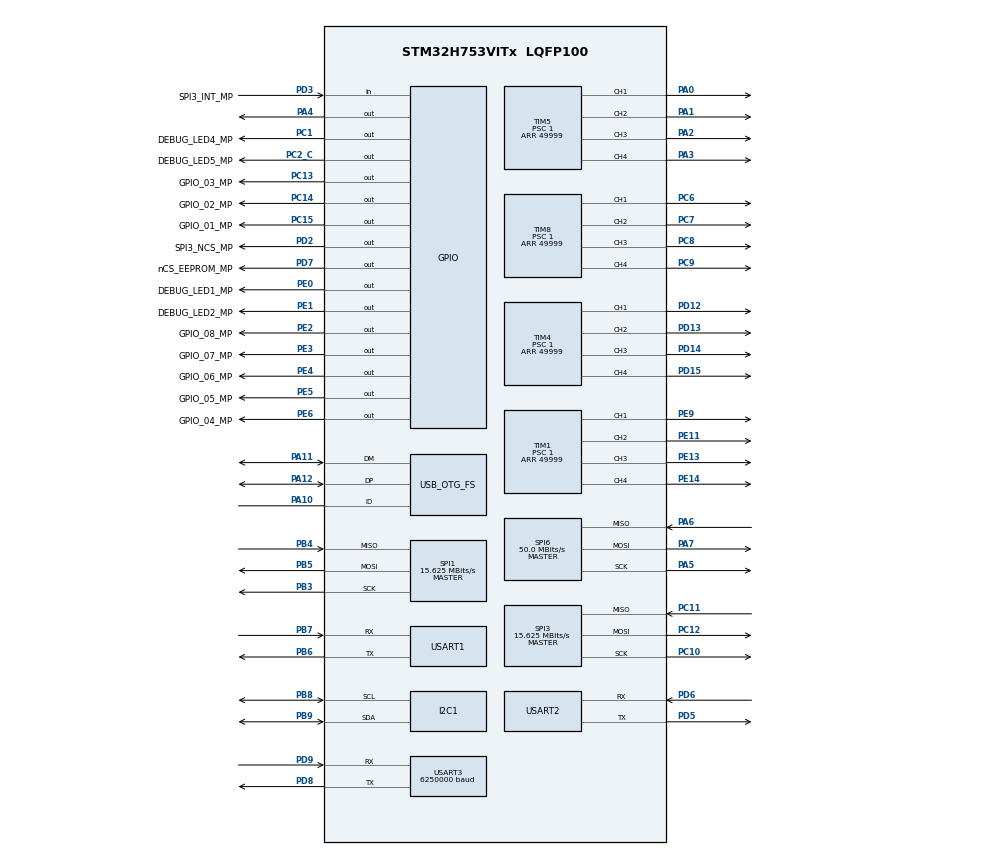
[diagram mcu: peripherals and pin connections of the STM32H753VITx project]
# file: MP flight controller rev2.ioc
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CORTEX_M7.default_mode_Activation=1
Dma.Request0=TIM1_CH1
Dma.Request1=TIM1_CH2
Dma.Request10=TIM5_CH3
Dma.Request11=TIM5_CH4
Dma.Request2=TIM1_CH3
Dma.Request3=TIM1_CH4
Dma.Request4=TIM8_CH1
Dma.Request5=TIM8_CH2
Dma.Request6=TIM8_CH3
Dma.Request7=TIM8_CH4
Dma.Request8=TIM5_CH1
Dma.Request9=TIM5_CH2
Dma.TIM1_CH1.0.Direction=DMA_MEMORY_TO_PERIPH
Dma.TIM1_CH1.0.EventEnable=DISABLE
Dma.TIM1_CH1.0.FIFOMode=DMA_FIFOMODE_DISABLE
Dma.TIM1_CH1.0.Instance=DMA1_Stream0
Dma.TIM1_CH1.0.MemDataAlignment=DMA_MDATAALIGN_WORD
Dma.TIM1_CH1.0.MemInc=DMA_MINC_ENABLE
Dma.TIM1_CH1.0.Mode=DMA_CIRCULAR
Dma.TIM1_CH1.0.PeriphDataAlignment=DMA_PDATAALIGN_WORD
Dma.TIM1_CH1.0.PeriphInc=DMA_PINC_DISABLE
Dma.TIM1_CH1.0.Polarity=HAL_DMAMUX_REQ_GEN_RISING
Dma.TIM1_CH1.0.Priority=DMA_PRIORITY_VERY_HIGH
Dma.TIM1_CH1.0.RequestNumber=1
Dma.TIM1_CH1.0.SignalID=NONE
Dma.TIM1_CH1.0.SyncEnable=DISABLE
Dma.TIM1_CH1.0.SyncPolarity=HAL_DMAMUX_SYNC_NO_EVENT
Dma.TIM1_CH1.0.SyncRequestNumber=1
Dma.TIM1_CH1.0.SyncSignalID=NONE
Dma.TIM1_CH2.1.Direction=DMA_MEMORY_TO_PERIPH
Dma.TIM1_CH2.1.EventEnable=DISABLE
Dma.TIM1_CH2.1.FIFOMode=DMA_FIFOMODE_DISABLE
Dma.TIM1_CH2.1.Instance=DMA1_Stream1
Dma.TIM1_CH2.1.MemDataAlignment=DMA_MDATAALIGN_WORD
Dma.TIM1_CH2.1.MemInc=DMA_MINC_ENABLE
Dma.TIM1_CH2.1.Mode=DMA_CIRCULAR
Dma.TIM1_CH2.1.PeriphDataAlignment=DMA_PDATAALIGN_WORD
Dma.TIM1_CH2.1.PeriphInc=DMA_PINC_DISABLE
Dma.TIM1_CH2.1.Polarity=HAL_DMAMUX_REQ_GEN_RISING
Dma.TIM1_CH2.1.Priority=DMA_PRIORITY_VERY_HIGH
Dma.TIM1_CH2.1.RequestNumber=1
Dma.TIM1_CH2.1.SignalID=NONE
Dma.TIM1_CH2.1.SyncEnable=DISABLE
Dma.TIM1_CH2.1.SyncPolarity=HAL_DMAMUX_SYNC_NO_EVENT
Dma.TIM1_CH2.1.SyncRequestNumber=1
Dma.TIM1_CH2.1.SyncSignalID=NONE
Dma.TIM1_CH3.2.Direction=DMA_MEMORY_TO_PERIPH
Dma.TIM1_CH3.2.EventEnable=DISABLE
Dma.TIM1_CH3.2.FIFOMode=DMA_FIFOMODE_DISABLE
Dma.TIM1_CH3.2.Instance=DMA1_Stream2
Dma.TIM1_CH3.2.MemDataAlignment=DMA_MDATAALIGN_WORD
Dma.TIM1_CH3.2.MemInc=DMA_MINC_ENABLE
Dma.TIM1_CH3.2.Mode=DMA_CIRCULAR
Dma.TIM1_CH3.2.PeriphDataAlignment=DMA_PDATAALIGN_WORD
Dma.TIM1_CH3.2.PeriphInc=DMA_PINC_DISABLE
Dma.TIM1_CH3.2.Polarity=HAL_DMAMUX_REQ_GEN_RISING
Dma.TIM1_CH3.2.Priority=DMA_PRIORITY_VERY_HIGH
Dma.TIM1_CH3.2.RequestNumber=1
Dma.TIM1_CH3.2.SignalID=NONE
Dma.TIM1_CH3.2.SyncEnable=DISABLE
Dma.TIM1_CH3.2.SyncPolarity=HAL_DMAMUX_SYNC_NO_EVENT
Dma.TIM1_CH3.2.SyncRequestNumber=1
Dma.TIM1_CH3.2.SyncSignalID=NONE
Dma.TIM1_CH4.3.Direction=DMA_MEMORY_TO_PERIPH
Dma.TIM1_CH4.3.EventEnable=DISABLE
Dma.TIM1_CH4.3.FIFOMode=DMA_FIFOMODE_DISABLE
Dma.TIM1_CH4.3.Instance=DMA1_Stream3
Dma.TIM1_CH4.3.MemDataAlignment=DMA_MDATAALIGN_WORD
Dma.TIM1_CH4.3.MemInc=DMA_MINC_ENABLE
Dma.TIM1_CH4.3.Mode=DMA_CIRCULAR
Dma.TIM1_CH4.3.PeriphDataAlignment=DMA_PDATAALIGN_WORD
Dma.TIM1_CH4.3.PeriphInc=DMA_PINC_DISABLE
Dma.TIM1_CH4.3.Polarity=HAL_DMAMUX_REQ_GEN_RISING
Dma.TIM1_CH4.3.Priority=DMA_PRIORITY_VERY_HIGH
Dma.TIM1_CH4.3.RequestNumber=1
Dma.TIM1_CH4.3.SignalID=NONE
Dma.TIM1_CH4.3.SyncEnable=DISABLE
Dma.TIM1_CH4.3.SyncPolarity=HAL_DMAMUX_SYNC_NO_EVENT
Dma.TIM1_CH4.3.SyncRequestNumber=1
Dma.TIM1_CH4.3.SyncSignalID=NONE
Dma.TIM5_CH1.8.Direction=DMA_MEMORY_TO_PERIPH
Dma.TIM5_CH1.8.EventEnable=DISABLE
Dma.TIM5_CH1.8.FIFOMode=DMA_FIFOMODE_DISABLE
Dma.TIM5_CH1.8.Instance=DMA2_Stream0
Dma.TIM5_CH1.8.MemDataAlignment=DMA_MDATAALIGN_WORD
Dma.TIM5_CH1.8.MemInc=DMA_MINC_ENABLE
Dma.TIM5_CH1.8.Mode=DMA_CIRCULAR
Dma.TIM5_CH1.8.PeriphDataAlignment=DMA_PDATAALIGN_WORD
Dma.TIM5_CH1.8.PeriphInc=DMA_PINC_DISABLE
Dma.TIM5_CH1.8.Polarity=HAL_DMAMUX_REQ_GEN_RISING
Dma.TIM5_CH1.8.Priority=DMA_PRIORITY_VERY_HIGH
Dma.TIM5_CH1.8.RequestNumber=1
Dma.TIM5_CH1.8.SignalID=NONE
Dma.TIM5_CH1.8.SyncEnable=DISABLE
Dma.TIM5_CH1.8.SyncPolarity=HAL_DMAMUX_SYNC_NO_EVENT
Dma.TIM5_CH1.8.SyncRequestNumber=1
Dma.TIM5_CH1.8.SyncSignalID=NONE
Dma.TIM5_CH2.9.Direction=DMA_MEMORY_TO_PERIPH
Dma.TIM5_CH2.9.EventEnable=DISABLE
Dma.TIM5_CH2.9.FIFOMode=DMA_FIFOMODE_DISABLE
Dma.TIM5_CH2.9.Instance=DMA2_Stream1
Dma.TIM5_CH2.9.MemDataAlignment=DMA_MDATAALIGN_WORD
Dma.TIM5_CH2.9.MemInc=DMA_MINC_ENABLE
Dma.TIM5_CH2.9.Mode=DMA_CIRCULAR
Dma.TIM5_CH2.9.PeriphDataAlignment=DMA_PDATAALIGN_WORD
Dma.TIM5_CH2.9.PeriphInc=DMA_PINC_DISABLE
Dma.TIM5_CH2.9.Polarity=HAL_DMAMUX_REQ_GEN_RISING
Dma.TIM5_CH2.9.Priority=DMA_PRIORITY_VERY_HIGH
Dma.TIM5_CH2.9.RequestNumber=1
Dma.TIM5_CH2.9.SignalID=NONE
Dma.TIM5_CH2.9.SyncEnable=DISABLE
Dma.TIM5_CH2.9.SyncPolarity=HAL_DMAMUX_SYNC_NO_EVENT
Dma.TIM5_CH2.9.SyncRequestNumber=1
Dma.TIM5_CH2.9.SyncSignalID=NONE
Dma.TIM5_CH3.10.Direction=DMA_MEMORY_TO_PERIPH
Dma.TIM5_CH3.10.EventEnable=DISABLE
Dma.TIM5_CH3.10.FIFOMode=DMA_FIFOMODE_DISABLE
Dma.TIM5_CH3.10.Instance=DMA2_Stream2
Dma.TIM5_CH3.10.MemDataAlignment=DMA_MDATAALIGN_WORD
Dma.TIM5_CH3.10.MemInc=DMA_MINC_ENABLE
Dma.TIM5_CH3.10.Mode=DMA_CIRCULAR
Dma.TIM5_CH3.10.PeriphDataAlignment=DMA_PDATAALIGN_WORD
Dma.TIM5_CH3.10.PeriphInc=DMA_PINC_DISABLE
Dma.TIM5_CH3.10.Polarity=HAL_DMAMUX_REQ_GEN_RISING
Dma.TIM5_CH3.10.Priority=DMA_PRIORITY_VERY_HIGH
Dma.TIM5_CH3.10.RequestNumber=1
Dma.TIM5_CH3.10.SignalID=NONE
Dma.TIM5_CH3.10.SyncEnable=DISABLE
Dma.TIM5_CH3.10.SyncPolarity=HAL_DMAMUX_SYNC_NO_EVENT
Dma.TIM5_CH3.10.SyncRequestNumber=1
Dma.TIM5_CH3.10.SyncSignalID=NONE
Dma.TIM5_CH4.11.Direction=DMA_MEMORY_TO_PERIPH
Dma.TIM5_CH4.11.EventEnable=DISABLE
Dma.TIM5_CH4.11.FIFOMode=DMA_FIFOMODE_DISABLE
Dma.TIM5_CH4.11.Instance=DMA2_Stream3
Dma.TIM5_CH4.11.MemDataAlignment=DMA_MDATAALIGN_WORD
Dma.TIM5_CH4.11.MemInc=DMA_MINC_ENABLE
Dma.TIM5_CH4.11.Mode=DMA_CIRCULAR
Dma.TIM5_CH4.11.PeriphDataAlignment=DMA_PDATAALIGN_WORD
Dma.TIM5_CH4.11.PeriphInc=DMA_PINC_DISABLE
Dma.TIM5_CH4.11.Polarity=HAL_DMAMUX_REQ_GEN_RISING
Dma.TIM5_CH4.11.Priority=DMA_PRIORITY_VERY_HIGH
Dma.TIM5_CH4.11.RequestNumber=1
Dma.TIM5_CH4.11.SignalID=NONE
Dma.TIM5_CH4.11.SyncEnable=DISABLE
Dma.TIM5_CH4.11.SyncPolarity=HAL_DMAMUX_SYNC_NO_EVENT
Dma.TIM5_CH4.11.SyncRequestNumber=1
Dma.TIM5_CH4.11.SyncSignalID=NONE
Dma.TIM8_CH1.4.Direction=DMA_MEMORY_TO_PERIPH
Dma.TIM8_CH1.4.EventEnable=DISABLE
Dma.TIM8_CH1.4.FIFOMode=DMA_FIFOMODE_DISABLE
Dma.TIM8_CH1.4.Instance=DMA1_Stream4
Dma.TIM8_CH1.4.MemDataAlignment=DMA_MDATAALIGN_HALFWORD
Dma.TIM8_CH1.4.MemInc=DMA_MINC_ENABLE
Dma.TIM8_CH1.4.Mode=DMA_CIRCULAR
Dma.TIM8_CH1.4.PeriphDataAlignment=DMA_PDATAALIGN_HALFWORD
Dma.TIM8_CH1.4.PeriphInc=DMA_PINC_DISABLE
Dma.TIM8_CH1.4.Polarity=HAL_DMAMUX_REQ_GEN_RISING
Dma.TIM8_CH1.4.Priority=DMA_PRIORITY_VERY_HIGH
Dma.TIM8_CH1.4.RequestNumber=1
Dma.TIM8_CH1.4.SignalID=NONE
Dma.TIM8_CH1.4.SyncEnable=DISABLE
Dma.TIM8_CH1.4.SyncPolarity=HAL_DMAMUX_SYNC_NO_EVENT
Dma.TIM8_CH1.4.SyncRequestNumber=1
Dma.TIM8_CH1.4.SyncSignalID=NONE
Dma.TIM8_CH2.5.Direction=DMA_MEMORY_TO_PERIPH
Dma.TIM8_CH2.5.EventEnable=DISABLE
Dma.TIM8_CH2.5.FIFOMode=DMA_FIFOMODE_DISABLE
Dma.TIM8_CH2.5.Instance=DMA1_Stream5
Dma.TIM8_CH2.5.MemDataAlignment=DMA_MDATAALIGN_HALFWORD
Dma.TIM8_CH2.5.MemInc=DMA_MINC_ENABLE
Dma.TIM8_CH2.5.Mode=DMA_CIRCULAR
Dma.TIM8_CH2.5.PeriphDataAlignment=DMA_PDATAALIGN_HALFWORD
Dma.TIM8_CH2.5.PeriphInc=DMA_PINC_DISABLE
Dma.TIM8_CH2.5.Polarity=HAL_DMAMUX_REQ_GEN_RISING
Dma.TIM8_CH2.5.Priority=DMA_PRIORITY_VERY_HIGH
Dma.TIM8_CH2.5.RequestNumber=1
Dma.TIM8_CH2.5.SignalID=NONE
Dma.TIM8_CH2.5.SyncEnable=DISABLE
Dma.TIM8_CH2.5.SyncPolarity=HAL_DMAMUX_SYNC_NO_EVENT
Dma.TIM8_CH2.5.SyncRequestNumber=1
Dma.TIM8_CH2.5.SyncSignalID=NONE
Dma.TIM8_CH3.6.Direction=DMA_MEMORY_TO_PERIPH
Dma.TIM8_CH3.6.EventEnable=DISABLE
Dma.TIM8_CH3.6.FIFOMode=DMA_FIFOMODE_DISABLE
Dma.TIM8_CH3.6.Instance=DMA1_Stream6
Dma.TIM8_CH3.6.MemDataAlignment=DMA_MDATAALIGN_HALFWORD
Dma.TIM8_CH3.6.MemInc=DMA_MINC_ENABLE
Dma.TIM8_CH3.6.Mode=DMA_CIRCULAR
Dma.TIM8_CH3.6.PeriphDataAlignment=DMA_PDATAALIGN_HALFWORD
Dma.TIM8_CH3.6.PeriphInc=DMA_PINC_DISABLE
Dma.TIM8_CH3.6.Polarity=HAL_DMAMUX_REQ_GEN_RISING
Dma.TIM8_CH3.6.Priority=DMA_PRIORITY_VERY_HIGH
Dma.TIM8_CH3.6.RequestNumber=1
Dma.TIM8_CH3.6.SignalID=NONE
Dma.TIM8_CH3.6.SyncEnable=DISABLE
Dma.TIM8_CH3.6.SyncPolarity=HAL_DMAMUX_SYNC_NO_EVENT
Dma.TIM8_CH3.6.SyncRequestNumber=1
Dma.TIM8_CH3.6.SyncSignalID=NONE
Dma.TIM8_CH4.7.Direction=DMA_MEMORY_TO_PERIPH
Dma.TIM8_CH4.7.EventEnable=DISABLE
Dma.TIM8_CH4.7.FIFOMode=DMA_FIFOMODE_DISABLE
Dma.TIM8_CH4.7.Instance=DMA1_Stream7
Dma.TIM8_CH4.7.MemDataAlignment=DMA_MDATAALIGN_WORD
Dma.TIM8_CH4.7.MemInc=DMA_MINC_ENABLE
Dma.TIM8_CH4.7.Mode=DMA_CIRCULAR
Dma.TIM8_CH4.7.PeriphDataAlignment=DMA_PDATAALIGN_WORD
Dma.TIM8_CH4.7.PeriphInc=DMA_PINC_DISABLE
Dma.TIM8_CH4.7.Polarity=HAL_DMAMUX_REQ_GEN_RISING
Dma.TIM8_CH4.7.Priority=DMA_PRIORITY_VERY_HIGH
Dma.TIM8_CH4.7.RequestNumber=1
Dma.TIM8_CH4.7.SignalID=NONE
Dma.TIM8_CH4.7.SyncEnable=DISABLE
Dma.TIM8_CH4.7.SyncPolarity=HAL_DMAMUX_SYNC_NO_EVENT
Dma.TIM8_CH4.7.SyncRequestNumber=1
Dma.TIM8_CH4.7.SyncSignalID=NONE
I2C1.Timing=0x10C0ECFF
Mcu.Family=STM32H7
Mcu.Name=STM32H753VITx
Mcu.Package=LQFP100
NVIC.DMA1_Stream0_IRQn=true\:0\:0\:false\:false\:true\:false\:true\:true
NVIC.DMA1_Stream1_IRQn=true\:0\:0\:false\:false\:true\:false\:true\:true
NVIC.DMA1_Stream2_IRQn=true\:0\:0\:false\:false\:true\:false\:true\:true
NVIC.DMA1_Stream3_IRQn=true\:0\:0\:false\:false\:true\:false\:true\:true
NVIC.DMA1_Stream4_IRQn=true\:0\:0\:false\:false\:true\:false\:true\:true
NVIC.DMA1_Stream5_IRQn=true\:0\:0\:false\:false\:true\:false\:true\:true
NVIC.DMA1_Stream6_IRQn=true\:0\:0\:false\:false\:true\:false\:true\:true
NVIC.DMA1_Stream7_IRQn=true\:0\:0\:false\:false\:true\:false\:true\:true
NVIC.DMA2_Stream0_IRQn=true\:0\:0\:false\:false\:true\:false\:true\:true
NVIC.DMA2_Stream1_IRQn=true\:0\:0\:false\:false\:true\:false\:true\:true
NVIC.DMA2_Stream2_IRQn=true\:0\:0\:false\:false\:true\:false\:true\:true
NVIC.DMA2_Stream3_IRQn=true\:0\:0\:false\:false\:true\:false\:true\:true
NVIC.PriorityGroup=NVIC_PRIORITYGROUP_4
NVIC.TIM7_IRQn=true\:0\:0\:false\:false\:true\:true\:true\:true
NVIC.USART1_IRQn=true\:0\:0\:false\:false\:true\:true\:true\:true
NVIC.USART2_IRQn=true\:0\:0\:false\:false\:true\:true\:true\:true
NVIC.USART3_IRQn=true\:0\:0\:false\:false\:true\:true\:true\:true
PA0.Signal=S_TIM5_CH1
PA1.Signal=S_TIM5_CH2
PA10.Mode=OTG/Dual_Role_Device
PA10.Signal=USB_OTG_FS_ID
PA11.Mode=OTG/Dual_Role_Device
PA11.Signal=USB_OTG_FS_DM
PA12.Mode=OTG/Dual_Role_Device
PA12.Signal=USB_OTG_FS_DP
PA13\ (JTMS/SWDIO).Mode=Serial_Wire
PA13\ (JTMS/SWDIO).Signal=DEBUG_JTMS-SWDIO
PA14\ (JTCK/SWCLK).Mode=Serial_Wire
PA14\ (JTCK/SWCLK).Signal=DEBUG_JTCK-SWCLK
PA2.Signal=S_TIM5_CH3
PA3.Signal=S_TIM5_CH4
PA4.Signal=GPIO_Output
PA5.Mode=Full_Duplex_Master
PA5.Signal=SPI6_SCK
PA6.Mode=Full_Duplex_Master
PA6.Signal=SPI6_MISO
PA7.Mode=Full_Duplex_Master
PA7.Signal=SPI6_MOSI
PB3\ (JTDO/TRACESWO).Mode=Full_Duplex_Master
PB3\ (JTDO/TRACESWO).Signal=SPI1_SCK
PB4\ (NJTRST).Mode=Full_Duplex_Master
PB4\ (NJTRST).Signal=SPI1_MISO
PB5.Mode=Full_Duplex_Master
PB5.Signal=SPI1_MOSI
PB6.Mode=Asynchronous
PB6.Signal=USART1_TX
PB7.Mode=Asynchronous
PB7.Signal=USART1_RX
PB8.Mode=I2C
PB8.Signal=I2C1_SCL
PB9.Mode=I2C
PB9.Signal=I2C1_SDA
PC1.GPIO_Label=DEBUG_LED4_MP
PC1.Signal=GPIO_Output
PC10.Mode=Full_Duplex_Master
PC10.Signal=SPI3_SCK
PC11.Mode=Full_Duplex_Master
PC11.Signal=SPI3_MISO
PC12.Mode=Full_Duplex_Master
PC12.Signal=SPI3_MOSI
PC13.GPIO_Label=GPIO_03_MP
PC13.Signal=GPIO_Output
PC14-OSC32_IN\ (OSC32_IN).GPIO_Label=GPIO_02_MP
PC14-OSC32_IN\ (OSC32_IN).Signal=GPIO_Output
PC15-OSC32_OUT\ (OSC32_OUT).GPIO_Label=GPIO_01_MP
PC15-OSC32_OUT\ (OSC32_OUT).Signal=GPIO_Output
PC2_C.GPIO_Label=DEBUG_LED5_MP
PC2_C.Signal=GPIO_Output
PC6.Signal=S_TIM8_CH1
PC7.Signal=S_TIM8_CH2
PC8.Signal=S_TIM8_CH3
PC9.Signal=S_TIM8_CH4
PD12.Signal=S_TIM4_CH1
PD13.Signal=S_TIM4_CH2
PD14.Signal=S_TIM4_CH3
PD15.Signal=S_TIM4_CH4
PD2.GPIO_Label=SPI3_NCS_MP
PD2.Signal=GPIO_Output
PD3.GPIO_Label=SPI3_INT_MP 
PD3.Signal=GPIO_Input
PD5.Mode=Asynchronous
PD5.Signal=USART2_TX
PD6.Mode=Asynchronous
PD6.Signal=USART2_RX
PD7.GPIO_Label=nCS_EEPROM_MP
PD7.Signal=GPIO_Output
PD8.Mode=Asynchronous
PD8.Signal=USART3_TX
PD9.Mode=Asynchronous
PD9.Signal=USART3_RX
PE0.GPIO_Label=DEBUG_LED1_MP
PE0.Signal=GPIO_Output
PE1.GPIO_Label=DEBUG_LED2_MP
PE1.Signal=GPIO_Output
PE11.Signal=S_TIM1_CH2
PE13.Signal=S_TIM1_CH3
PE14.Signal=S_TIM1_CH4
PE2.GPIO_Label=GPIO_08_MP
PE2.Signal=GPIO_Output
PE3.GPIO_Label=GPIO_07_MP
PE3.Signal=GPIO_Output
PE4.GPIO_Label=GPIO_06_MP
PE4.Signal=GPIO_Output
PE5.GPIO_Label=GPIO_05_MP
PE5.Signal=GPIO_Output
PE6.GPIO_Label=GPIO_04_MP
PE6.Signal=GPIO_Output
PE9.Signal=S_TIM1_CH1
PH0-OSC_IN\ (PH0).Mode=HSE-External-Oscillator
PH0-OSC_IN\ (PH0).Signal=RCC_OSC_IN
PH1-OSC_OUT\ (PH1).Mode=HSE-External-Oscillator
PH1-OSC_OUT\ (PH1).Signal=RCC_OSC_OUT
ProjectManager.HeapSize=0x200
ProjectManager.StackSize=0x400
ProjectManager.TargetToolchain=STM32CubeIDE
RCC.ADCFreq_Value=50390625
RCC.APB1Freq_Value=100000000
RCC.APB2Freq_Value=100000000
RCC.APB3Freq_Value=100000000
RCC.APB4Freq_Value=100000000
RCC.CortexFreq_Value=400000000
RCC.D1PPRE=RCC_APB3_DIV2
RCC.D2PPRE1=RCC_APB1_DIV2
RCC.D2PPRE2=RCC_APB2_DIV2
RCC.D3PPRE=RCC_APB4_DIV2
RCC.DIVM1=2
RCC.DIVM3=2
RCC.DIVN1=64
RCC.DIVN3=40
RCC.DIVP3=16
RCC.EnbaleCSS=true
RCC.HCLKFreq_Value=200000000
RCC.HPRE=RCC_HCLK_DIV2
RCC.PLLSourceVirtual=RCC_PLLSOURCE_HSE
RCC.SPI123CLockSelection=RCC_SPI123CLKSOURCE_PLL3
RCC.SYSCLKFreq_VALUE=400000000
RCC.SYSCLKSource=RCC_SYSCLKSOURCE_PLLCLK
RCC.USBCLockSelection=RCC_USBCLKSOURCE_HSI48
RCC.USBFreq_Value=48000000
SH.S_TIM1_CH1.0=TIM1_CH1,PWM Generation1 CH1
SH.S_TIM1_CH2.0=TIM1_CH2,PWM Generation2 CH2
SH.S_TIM1_CH3.0=TIM1_CH3,PWM Generation3 CH3
SH.S_TIM1_CH4.0=TIM1_CH4,PWM Generation4 CH4
SH.S_TIM4_CH1.0=TIM4_CH1,PWM Generation1 CH1
SH.S_TIM4_CH2.0=TIM4_CH2,PWM Generation2 CH2
SH.S_TIM4_CH3.0=TIM4_CH3,PWM Generation3 CH3
SH.S_TIM4_CH4.0=TIM4_CH4,PWM Generation4 CH4
SH.S_TIM5_CH1.0=TIM5_CH1,PWM Generation1 CH1
SH.S_TIM5_CH2.0=TIM5_CH2,PWM Generation2 CH2
SH.S_TIM5_CH3.0=TIM5_CH3,PWM Generation3 CH3
SH.S_TIM5_CH4.0=TIM5_CH4,PWM Generation4 CH4
SH.S_TIM8_CH1.0=TIM8_CH1,PWM Generation1 CH1
SH.S_TIM8_CH2.0=TIM8_CH2,PWM Generation2 CH2
SH.S_TIM8_CH3.0=TIM8_CH3,PWM Generation3 CH3
SH.S_TIM8_CH4.0=TIM8_CH4,PWM Generation4 CH4
SPI1.BaudRatePrescaler=SPI_BAUDRATEPRESCALER_2
SPI1.CalculateBaudRate=15.625 MBits/s
SPI1.Direction=SPI_DIRECTION_2LINES
SPI1.Mode=SPI_MODE_MASTER
SPI1.VirtualType=VM_MASTER
SPI3.BaudRatePrescaler=SPI_BAUDRATEPRESCALER_2
SPI3.CalculateBaudRate=15.625 MBits/s
SPI3.Direction=SPI_DIRECTION_2LINES
SPI3.Mode=SPI_MODE_MASTER
SPI3.VirtualType=VM_MASTER
SPI6.BaudRatePrescaler=SPI_BAUDRATEPRESCALER_2
SPI6.CalculateBaudRate=50.0 MBits/s
SPI6.Direction=SPI_DIRECTION_2LINES
SPI6.Mode=SPI_MODE_MASTER
SPI6.VirtualType=VM_MASTER
TIM1.Channel-PWM\ Generation1\ CH1=TIM_CHANNEL_1
TIM1.Channel-PWM\ Generation2\ CH2=TIM_CHANNEL_2
TIM1.Channel-PWM\ Generation3\ CH3=TIM_CHANNEL_3
TIM1.Channel-PWM\ Generation4\ CH4=TIM_CHANNEL_4
TIM1.Period=49999
TIM1.Prescaler=1
TIM4.Channel-PWM\ Generation1\ CH1=TIM_CHANNEL_1
TIM4.Channel-PWM\ Generation2\ CH2=TIM_CHANNEL_2
TIM4.Channel-PWM\ Generation3\ CH3=TIM_CHANNEL_3
TIM4.Channel-PWM\ Generation4\ CH4=TIM_CHANNEL_4
TIM4.Period=49999
TIM4.Prescaler=1
TIM5.Channel-PWM\ Generation1\ CH1=TIM_CHANNEL_1
TIM5.Channel-PWM\ Generation2\ CH2=TIM_CHANNEL_2
TIM5.Channel-PWM\ Generation3\ CH3=TIM_CHANNEL_3
TIM5.Channel-PWM\ Generation4\ CH4=TIM_CHANNEL_4
TIM5.Period=49999
TIM5.Prescaler=1
TIM7.AutoReloadPreload=TIM_AUTORELOAD_PRELOAD_ENABLE
TIM7.Period=1
TIM7.Prescaler=24999
TIM8.Channel-PWM\ Generation1\ CH1=TIM_CHANNEL_1
TIM8.Channel-PWM\ Generation2\ CH2=TIM_CHANNEL_2
TIM8.Channel-PWM\ Generation3\ CH3=TIM_CHANNEL_3
TIM8.Channel-PWM\ Generation4\ CH4=TIM_CHANNEL_4
TIM8.Period=49999
TIM8.Prescaler=1
USART1.VirtualMode-Asynchronous=VM_ASYNC
USART2.VirtualMode-Asynchronous=VM_ASYNC
USART3.BaudRate=6250000
USART3.VirtualMode-Asynchronous=VM_ASYNC
VP_MEMORYMAP_VS_MEMORYMAP.Mode=CurAppReg
VP_TIM7_VS_ClockSourceINT.Mode=Enable_Timer
board=custom

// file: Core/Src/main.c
/* USER CODE BEGIN Header */
/**
 ******************************************************************************
 * @file           : main.c
 * @brief          : Main program body
 ******************************************************************************
 * @attention
 *
 * Copyright (c) 2025 STMicroelectronics.
 * All rights reserved.
 *
 * This software is licensed under terms that can be found in the LICENSE file
 * in the root directory of this software component.
 * If no LICENSE file comes with this software, it is provided AS-IS.
 *
 ******************************************************************************
 */
/* USER CODE END Header */
#include "main.h"
#include "dma.h"
#include "i2c.h"
#include "memorymap.h"
#include "spi.h"
#include "tim.h"
#include "usart.h"
#include "usb_otg.h"
#include "gpio.h"

/* USER CODE BEGIN Includes */
#include <stdio.h>
#include <string.h>
#include "DSHOT.h"
//#include "EEPROM.h"
#include "DRONE_CONFIG.h"

/* USER CODE END Includes */

/* USER CODE BEGIN PTD */

int _write(int file, char* p, int len)
{
	for(int i=0;i<len;i++)
	{
		while(!LL_USART_IsActiveFlag_TXE(USART1));
		LL_USART_TransmitData8(USART1, *(p+i));
	}
	return len;
}

/* USER CODE END PTD */

/* USER CODE BEGIN PD */
#define DEBUG_NO 0

// SELECT ANY ONE PARAMETER
#define ONESHOT125 1
#define ONESHOT42  0
#define MULTISHOT  0
#define DSHOT      0

#define DSHOT_TYPE 150 // or DSHOT150

// TAKES 1 MINUTE FOR CABILBRATION // can be done only once
#define CALIBRATE_ESC      0

#define timer_freq 200000000

// CCR Values for MAX and MIN Duty Cycle
#define oneshot125_max_ccr  ((timer_freq * 0.000250f)/2)	// 250 µs Pulse Width // 25000
#define oneshot125_min_ccr  ((timer_freq * 0.000125f)/2)	// 125 µs Pulse Width // 12500
#define oneshot42_max_ccr   (timer_freq * 0.000084f)		// 84  µs Pulse Width // 16800
#define oneshot42_min_ccr   (timer_freq * 0.000042f)		// 42  µs Pulse Width // 8400
#define multishot_max_ccr   (timer_freq * 0.000025f)		// 25  µs Pulse Width // 5000
#define multishot_min_ccr   (timer_freq * 0.000005f)		// 5   µs Pulse Width // 1000

// ARR Values for MAX and MIN Update-Rate
#define oneshot125_max_updateRate_arr  (timer_freq / (4000*2))-1	// 4  KHz Update Rate // 25000
#define oneshot125_min_updateRate_arr  (timer_freq / (2000*2))-1	// 2  KHz Update Rate // 50000
#define oneshot42_max_updateRate_arr   (timer_freq / (20000))-1		// 20 KHz Update Rate // 10000
#define oneshot42_min_updateRate_arr   (timer_freq / (8000))-1		// 8  KHz Update Rate // 25000
#define multishot_max_updateRate_arr   (timer_freq / (50000))-1		// 50 KHz Update Rate // 4000
#define multishot_min_updateRate_arr   (timer_freq / (25000))-1		// 25 KHz Update Rate // 8000

// SELECT UPDATE RATE
#define oneshot125_updateRate_arr   	oneshot125_min_updateRate_arr
#define oneshot42_updateRate_arr   		oneshot42_min_updateRate_arr
#define multishot_updateRate_arr   		multishot_min_updateRate_arr

/* USER CODE END PD */

/* USER CODE BEGIN PV */

extern uint8_t usart1_rx_flag;					// DEBUG
extern uint8_t usart1_rx_data;					// DEBUG

extern uint8_t cp_2_mp_rx_buffer[32];			// CP-MP TX BUFFER
extern uint8_t cp_2_mp_rx_complete_flag;		// CP-MP

extern uint8_t tim7_1000Hz_flag;
extern uint8_t tim7_2000Hz_flag;
extern uint8_t tim7_4000Hz_flag;

typedef struct _RX_DATA
{
	unsigned short setpoint_roll;
	unsigned short setpoint_pitch;
	unsigned short setpoint_throttle;
	unsigned short setpoint_yaw;
	float roll_pid;
	float pitch_pid;
	float yaw_rate_pid;
	float yaw_heading_pid;
	unsigned char failsafe_flag;
	unsigned char motor_arming_flag;
	unsigned char a;
	unsigned char b;
}Struct_RXDATA;

Struct_RXDATA rx;

typedef enum
{
	oneshot125 = 125,			// Values are bluff; has no meaning
	oneshot42  = 42,
	multishot  = 5
} Analog_ESC_Protocol;

/* USER CODE END PV */

void SystemClock_Config(void);
void PeriphCommonClock_Config(void);
static void MPU_Config(void);
/* USER CODE BEGIN PFP */

int Is_CP_MP_Data_Received(void);
int Is_Throttle_Min(void);
unsigned char CP_MP_Check_CHKSUM(unsigned char* data, unsigned char length);
void CP_MP_Parsing(unsigned char* data, Struct_RXDATA* rx);
unsigned char CP_MP_isActiveFailsafe(Struct_RXDATA* rx);
void Calibrate_ESC(TIM_TypeDef * timer, Analog_ESC_Protocol protocol);

/* USER CODE END PFP */

int main(void)
{

  /* MPU Configuration--------------------------------------------------------*/
  MPU_Config();

  /* MCU Configuration--------------------------------------------------------*/

  /* Reset of all peripherals, Initializes the Flash interface and the Systick. */
  HAL_Init();

  /* Configure the system clock */
  SystemClock_Config();

  /* Configure the peripherals common clocks */
  PeriphCommonClock_Config();

  /* Initialize all configured peripherals */
  MX_GPIO_Init();
  MX_DMA_Init();
  MX_I2C1_Init();
  MX_SPI1_Init();
  MX_SPI3_Init();
  MX_SPI6_Init();
  MX_TIM1_Init();
  MX_TIM4_Init();
  MX_TIM5_Init();
  MX_TIM8_Init();
  MX_USART1_UART_Init();
  MX_USART2_UART_Init();
  MX_USART3_UART_Init();
  MX_USB_OTG_FS_USB_Init();
  MX_TIM7_Init();
  /* USER CODE BEGIN 2 */

	/* ENABLE INTERRUPT --------------------------------------------------------------------------*/
	/* THIS ENABLE INTERRUPT IRQ_HANDLER WHEN DATA IS RECEIVED */
	LL_USART_EnableIT_RXNE(USART1);		// DEBUG
	LL_USART_EnableIT_RXNE(USART2);		// EXTERNAL UART
	LL_USART_EnableIT_RXNE(USART3);		// MP-CP

	/* INITIALIZATION ----------------------------------------------------------------------------*/
	//  EEPROM_Initialization();

	/* CHECK DATA RECEIVED -----------------------------------------------------------------------*/
	while(Is_CP_MP_Data_Received() == 0);
	/* SAFETY ------------------------------------------------------------------------------------*/
	while(Is_Throttle_Min() == 0);

	LL_TIM_EnableCounter(TIM7); //10Hz, 50Hz, 1kHz loop
	LL_TIM_EnableIT_UPDATE(TIM7);

	uint32_t motor[16]={0};

	uint32_t max_ccr;
	uint32_t min_ccr;
	uint32_t motor_offset;
	uint32_t throttle_multiplier;

#if DSHOT
	Enable_Dshot_Channels(DSHOT_TYPE);
	max_ccr = 2047;
	min_ccr = 0;
	motor_offset = (max_ccr - min_ccr)/20;
	throttle_multiplier = (max_ccr - min_ccr)/1000;

#elif MULTISHOT
	max_ccr = multishot_max_ccr;
	min_ccr = multishot_min_ccr;
	motor_offset = (max_ccr - min_ccr)/20;
	throttle_multiplier = (max_ccr - min_ccr)/100;
	Pwm_Init(multishot, multishot_updateRate_arr);
#if(CALIBRATE_ESC)
	Calibrate_ESC(TIM1, multishot);
	Calibrate_ESC(TIM8, multishot);
	Calibrate_ESC(TIM5, multishot);
	Calibrate_ESC(TIM4, multishot);
#endif

#elif ONESHOT42
	max_ccr = oneshot42_max_ccr;
	min_ccr = oneshot42_min_ccr;
	motor_offset = (max_ccr - min_ccr)/20;
	throttle_multiplier = (max_ccr - min_ccr)/100;
	Pwm_Init(oneshot42, oneshot42_updateRate_arr);
#if(CALIBRATE_ESC)
	Calibrate_ESC(TIM1, oneshot42);
	Calibrate_ESC(TIM8, oneshot42);
	Calibrate_ESC(TIM5, oneshot42);
	Calibrate_ESC(TIM4, oneshot42);
#endif

#else  // ONESHOT125
	max_ccr = oneshot125_max_ccr;
	min_ccr = oneshot125_min_ccr;
	motor_offset = (max_ccr - min_ccr)/20;
	throttle_multiplier = (max_ccr - min_ccr)/100;
	Pwm_Init(oneshot125, oneshot125_updateRate_arr);
#if(CALIBRATE_ESC)
	Calibrate_ESC(TIM1, oneshot125);
	Calibrate_ESC(TIM8, oneshot125);
	Calibrate_ESC(TIM5, oneshot125);
	Calibrate_ESC(TIM4, oneshot125);
#endif
#endif

  /* USER CODE END 2 */

  /* Infinite loop */
  /* USER CODE BEGIN WHILE */
	while (1)
	{
		/* cp-mp UART PROTOCOL -----------------------------------------------------------------------------*/
		if(cp_2_mp_rx_complete_flag == 1)
		{
			cp_2_mp_rx_complete_flag = 0;
			if(CP_MP_Check_CHKSUM(&cp_2_mp_rx_buffer[0], sizeof(cp_2_mp_rx_buffer)-2) == 1)
			{
				CP_MP_Parsing(&cp_2_mp_rx_buffer[0], &rx);

				if(CP_MP_isActiveFailsafe(&rx)==1)
				{			// FAILSAFE CODE HERE
				}
				else
				{

				}
			}
		}

		if(tim7_1000Hz_flag){
			tim7_1000Hz_flag =0;
			if(rx.setpoint_yaw < 1485 || rx.setpoint_yaw > 1515)
			{

				Calculate_Motor_Values(&motor[0],
						rx.setpoint_throttle,
						rx.roll_pid,
						rx.pitch_pid,
						rx.yaw_rate_pid,
						min_ccr, motor_offset, throttle_multiplier);
			}
			else
			{
				Calculate_Motor_Values(&motor[0],
						rx.setpoint_throttle,
						rx.roll_pid,
						rx.pitch_pid,
						rx.yaw_heading_pid,
						min_ccr, motor_offset, throttle_multiplier);
			}
		}

#if DSHOT
		if(rx.motor_arming_flag == 1)
		{
			if(rx.failsafe_flag == 0)
			{
				if(rx.setpoint_throttle > 1030)
				{
					Dshot_Set(motor, max_ccr, min_ccr, motor_offset);
				}
				else
				{
					Dshot_Reset(min_ccr, motor_offset);
				}
			}
			else
			{
				Dshot_Reset(min_ccr, 0);
			}
		}
		else
		{
			Dshot_Reset(min_ccr, 0);
		}
#else
		if(rx.motor_arming_flag == 1)
		{
			if(rx.failsafe_flag == 0)
			{
				if(rx.setpoint_throttle > 1030)
				{
					Pwm_Set(motor, max_ccr, min_ccr, motor_offset);
				}
				else
				{
					Pwm_Reset(min_ccr, motor_offset);
				}
			}
			else
			{
				Pwm_Reset(min_ccr, 0);
			}
		}
		else
		{
			Pwm_Reset(min_ccr, 0);
		}
#endif

    /* USER CODE END WHILE */

	}
}

void SystemClock_Config(void)
{
  LL_FLASH_SetLatency(LL_FLASH_LATENCY_2);
  while(LL_FLASH_GetLatency()!= LL_FLASH_LATENCY_2)
  {
  }
  LL_PWR_ConfigSupply(LL_PWR_LDO_SUPPLY);
  LL_PWR_SetRegulVoltageScaling(LL_PWR_REGU_VOLTAGE_SCALE1);
  while (LL_PWR_IsActiveFlag_VOS() == 0)
  {
  }
  LL_RCC_HSE_Enable();

   /* Wait till HSE is ready */
  while(LL_RCC_HSE_IsReady() != 1)
  {

  }
  LL_RCC_HSI48_Enable();

   /* Wait till HSI48 is ready */
  while(LL_RCC_HSI48_IsReady() != 1)
  {

  }
  LL_RCC_HSE_EnableCSS();
  LL_RCC_PLL_SetSource(LL_RCC_PLLSOURCE_HSE);
  LL_RCC_PLL1P_Enable();
  LL_RCC_PLL1R_Enable();
  LL_RCC_PLL1_SetVCOInputRange(LL_RCC_PLLINPUTRANGE_8_16);
  LL_RCC_PLL1_SetVCOOutputRange(LL_RCC_PLLVCORANGE_WIDE);
  LL_RCC_PLL1_SetM(2);
  LL_RCC_PLL1_SetN(64);
  LL_RCC_PLL1_SetP(2);
  LL_RCC_PLL1_SetQ(2);
  LL_RCC_PLL1_SetR(2);
  LL_RCC_PLL1_Enable();

   /* Wait till PLL is ready */
  while(LL_RCC_PLL1_IsReady() != 1)
  {
  }

   /* Intermediate AHB prescaler 2 when target frequency clock is higher than 80 MHz */
   LL_RCC_SetAHBPrescaler(LL_RCC_AHB_DIV_2);

  LL_RCC_SetSysClkSource(LL_RCC_SYS_CLKSOURCE_PLL1);

   /* Wait till System clock is ready */
  while(LL_RCC_GetSysClkSource() != LL_RCC_SYS_CLKSOURCE_STATUS_PLL1)
  {

  }
  LL_RCC_SetSysPrescaler(LL_RCC_SYSCLK_DIV_1);
  LL_RCC_SetAHBPrescaler(LL_RCC_AHB_DIV_2);
  LL_RCC_SetAPB1Prescaler(LL_RCC_APB1_DIV_2);
  LL_RCC_SetAPB2Prescaler(LL_RCC_APB2_DIV_2);
  LL_RCC_SetAPB3Prescaler(LL_RCC_APB3_DIV_2);
  LL_RCC_SetAPB4Prescaler(LL_RCC_APB4_DIV_2);
  LL_SetSystemCoreClock(400000000);

   /* Update the time base */
  if (HAL_InitTick (TICK_INT_PRIORITY) != HAL_OK)
  {
    Error_Handler();
  }
  LL_RCC_HSE_EnableCSS();
}

void PeriphCommonClock_Config(void)
{
  LL_RCC_PLL3P_Enable();
  LL_RCC_PLL3_SetVCOInputRange(LL_RCC_PLLINPUTRANGE_8_16);
  LL_RCC_PLL3_SetVCOOutputRange(LL_RCC_PLLVCORANGE_WIDE);
  LL_RCC_PLL3_SetM(2);
  LL_RCC_PLL3_SetN(40);
  LL_RCC_PLL3_SetP(16);
  LL_RCC_PLL3_SetQ(2);
  LL_RCC_PLL3_SetR(2);
  LL_RCC_PLL3_Enable();

   /* Wait till PLL is ready */
  while(LL_RCC_PLL3_IsReady() != 1)
  {
  }

}

/* USER CODE BEGIN 4 */

/**
 * @brief Check if Data is received from CP
 * @retval 1 if received
 */
int Is_CP_MP_Data_Received(void)
{
	if(cp_2_mp_rx_complete_flag == 1)
	{
		cp_2_mp_rx_complete_flag = 0;
		if(CP_MP_Check_CHKSUM(&cp_2_mp_rx_buffer[0], sizeof(cp_2_mp_rx_buffer)) == 1)
		{
			CP_MP_Parsing(&cp_2_mp_rx_buffer[0], &rx);
			return 1;
		}
	}
	return 0;
}
/**
 * @brief Check if Throttle is minimun in Data received from CP
 * @retval 1	if throttle is min
 */
int Is_Throttle_Min(void)
{
	if(cp_2_mp_rx_complete_flag == 1)
	{
		cp_2_mp_rx_complete_flag = 0;
		if(CP_MP_Check_CHKSUM(&cp_2_mp_rx_buffer[0], sizeof(cp_2_mp_rx_buffer)) == 1)
		{
			CP_MP_Parsing(&cp_2_mp_rx_buffer[0], &rx);
			if(rx.setpoint_throttle < 1010) return 1;
		}
	}
	return 0;
}
/**
 * @brief Check if Data received from CP is correct
 * @param  data		Pointer to data received
 * @param  length	Length of data received minus 2 i.e. (sizeof(cp_2_mp_rx_buffer)-2)
 * @retval 1 		if Checksum Matches
 */
unsigned char CP_MP_Check_CHKSUM(unsigned char* data, unsigned char length)
{
	unsigned short crc = 0xFFFF;			// Initial value
	unsigned short polynomial = 0x1021;

	for (uint32_t i = 0; i < length; i++) {
		crc ^= (uint16_t)data[i] << 8;
		for (uint8_t j = 0; j < 8; j++) {
			if (crc & 0x8000)
				crc = (crc << 1) ^ polynomial;
			else
				crc <<= 1;
		}
	}
	return ((crc&0x00FF) == data[length-2]) && ((crc >> 8) == data[length-1]);
}
/**
 * @brief Parse the Data received from CP
 * @param  data		Pointer to data received
 * @param  rx		Pointer to store received data
 * @retval None
 */
void CP_MP_Parsing(unsigned char* data, Struct_RXDATA* rx)
{
	rx->setpoint_roll     = ((((uint16_t)data[ 3]) << 8) | data[2]);
	rx->setpoint_pitch    = ((((uint16_t)data[ 5]) << 8) | data[4]);
	rx->setpoint_throttle = ((((uint16_t)data[ 7]) << 8) | data[6]);
	rx->setpoint_yaw      = ((((uint16_t)data[ 9]) << 8) | data[8]);
	rx->roll_pid          = (float)((((uint32_t)data[13]) << 24) | (((uint32_t)data[12]) << 16) | (((uint32_t)data[11]) << 8) | data[10]);
	rx->pitch_pid         = (float)((((uint32_t)data[17]) << 24) | (((uint32_t)data[16]) << 16) | (((uint32_t)data[15]) << 8) | data[14]);
	rx->yaw_rate_pid      = (float)((((uint32_t)data[21]) << 24) | (((uint32_t)data[20]) << 16) | (((uint32_t)data[19]) << 8) | data[18]);
	rx->yaw_heading_pid   = (float)((((uint32_t)data[25]) << 24) | (((uint32_t)data[24]) << 16) | (((uint32_t)data[23]) << 8) | data[22]);
	rx->failsafe_flag     = data[26];
	rx->motor_arming_flag = data[27];
	rx->a     = data[28];
	rx->b     = data[29];
}
/**
 * @brief Check if failsafe is active in Data received from CP
 * @param  rx		Pointer to stored data
 * @retval value of rx->failsafe_flag
 */
unsigned char CP_MP_isActiveFailsafe(Struct_RXDATA* rx)
{
	return rx->failsafe_flag != 0;
}
/**
 * @brief Calibrate ESC
 * @param  timer		Pointer to timer
 * @param  protocol		Analog_ESC_Protocol
 * @retval None
 */
void Calibrate_ESC(TIM_TypeDef * timer, Analog_ESC_Protocol protocol)
{
	LL_TIM_EnableCounter(timer);
	LL_TIM_CC_EnableChannel(timer , LL_TIM_CHANNEL_CH1);
	LL_TIM_CC_EnableChannel(timer , LL_TIM_CHANNEL_CH2);
	LL_TIM_CC_EnableChannel(timer , LL_TIM_CHANNEL_CH3);
	LL_TIM_CC_EnableChannel(timer , LL_TIM_CHANNEL_CH4);

	switch (protocol)
	{
	case multishot :
		timer->PSC = 0;
		timer->ARR = multishot_updateRate_arr;

		timer->CCR1 = multishot_max_ccr;		timer->CCR2 = multishot_max_ccr;
		timer->CCR3 = multishot_max_ccr;		timer->CCR4 = multishot_max_ccr;
		HAL_Delay(7000);
		timer->CCR1 = multishot_min_ccr;		timer->CCR2 = multishot_min_ccr;
		timer->CCR3 = multishot_min_ccr;		timer->CCR4 = multishot_min_ccr;
		HAL_Delay(8000);
		break;
	case oneshot42 :
		timer->PSC = 0;
		timer->ARR = oneshot42_updateRate_arr;

		timer->CCR1 = oneshot42_max_ccr;		timer->CCR2 = oneshot42_max_ccr;
		timer->CCR3 = oneshot42_max_ccr;		timer->CCR4 = oneshot42_max_ccr;
		HAL_Delay(7000);
		timer->CCR1 = oneshot42_min_ccr;		timer->CCR2 = oneshot42_min_ccr;
		timer->CCR3 = oneshot42_min_ccr;		timer->CCR4 = oneshot42_min_ccr;
		HAL_Delay(8000);
		break;
	default:
	case oneshot125 :
		timer->PSC = 1;
		timer->ARR = oneshot125_updateRate_arr;

		timer->CCR1 = oneshot125_max_ccr;		timer->CCR2 = oneshot125_max_ccr;
		timer->CCR3 = oneshot125_max_ccr;		timer->CCR4 = oneshot125_max_ccr;
		HAL_Delay(7000);
		timer->CCR1 = oneshot125_min_ccr;		timer->CCR2 = oneshot125_min_ccr;
		timer->CCR3 = oneshot125_min_ccr;		timer->CCR4 = oneshot125_min_ccr;
		HAL_Delay(8000);
		break;
	}
}

/* USER CODE END 4 */

 /* MPU Configuration */

void MPU_Config(void)
{

  /* Disables the MPU */
  LL_MPU_Disable();

  /** Initializes and configures the Region and the memory to be protected
  */
  LL_MPU_ConfigRegion(LL_MPU_REGION_NUMBER0, 0x87, 0x0, LL_MPU_REGION_SIZE_4GB|LL_MPU_TEX_LEVEL0|LL_MPU_REGION_NO_ACCESS|LL_MPU_INSTRUCTION_ACCESS_DISABLE|LL_MPU_ACCESS_SHAREABLE|LL_MPU_ACCESS_NOT_CACHEABLE|LL_MPU_ACCESS_NOT_BUFFERABLE);
  /* Enables the MPU */
  LL_MPU_Enable(LL_MPU_CTRL_PRIVILEGED_DEFAULT);

}

void Error_Handler(void)
{
	__disable_irq();
	while (1)
	{
	}
}
